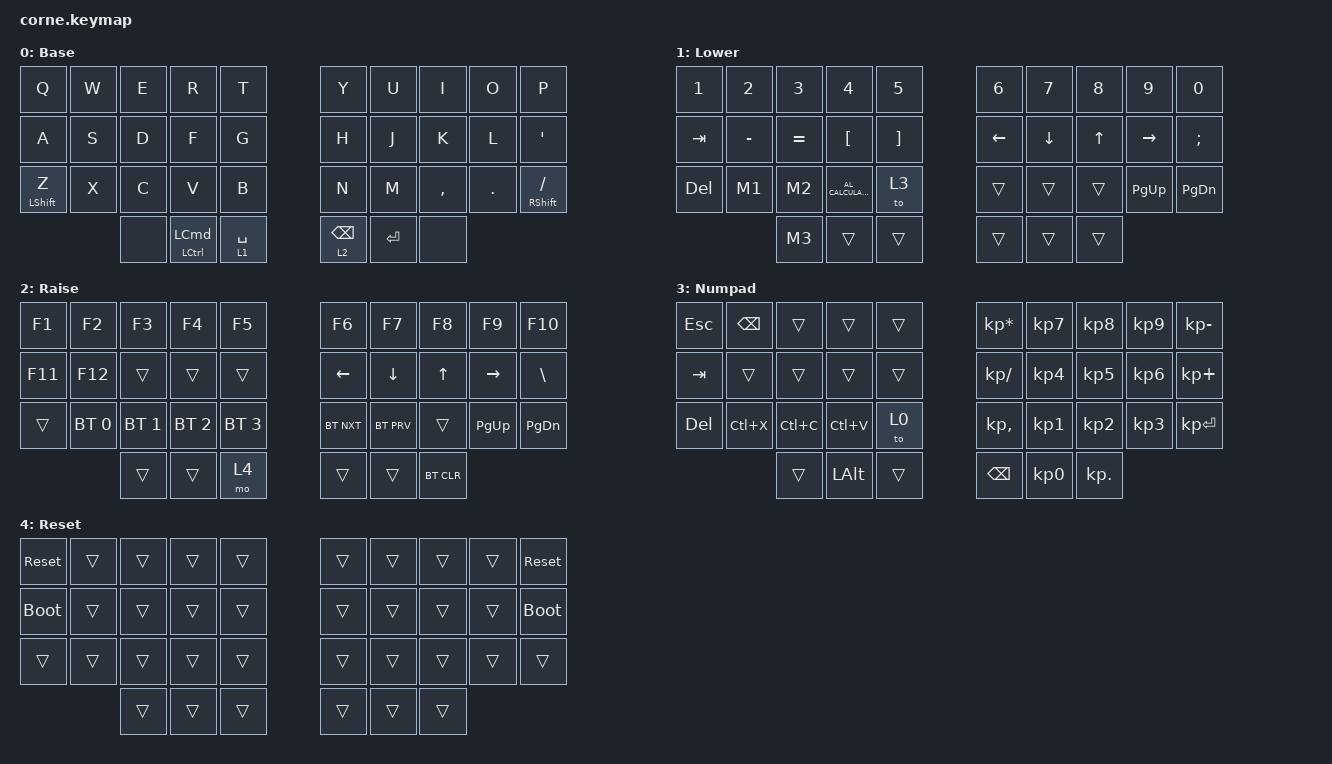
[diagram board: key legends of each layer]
/*
 * Copyright (c) 2020 The ZMK Contributors
 *
 * SPDX-License-Identifier: MIT
 */

#include <behaviors.dtsi>
#include <dt-bindings/zmk/bt.h>
#include <dt-bindings/zmk/keys.h>

/ {
    chosen { zmk,matrix_transform = &five_column_transform; };
};

/ {
    combos {
        compatible = "zmk,combos";

        Esc {
            bindings = <&kp ESC>;
            key-positions = <1 0>;
        };
    };

    macros {
        M1: M1 {
            compatible = "zmk,behavior-macro";
            #binding-cells = <0>;
            bindings = <&kp LS(LG(S))>;
            label = "M1";
        };

        M3: M3 {
            compatible = "zmk,behavior-macro";
            #binding-cells = <0>;
            bindings = <&kp LC(LA(DEL))>;
            label = "M3";
        };

        M2: M2 {
            compatible = "zmk,behavior-macro";
            #binding-cells = <0>;
            bindings = <&kp LC(LS(R))>;
            label = "M2";
        };
    };

    keymap {
        compatible = "zmk,keymap";

        default_layer {
            // -----------------------------------------------------------------------------------------
            // |  TAB |  Q  |  W  |  E  |  R  |  T  |   |  Y  |  U   |  I  |  O  |  P  | BKSP |
            // | CTRL |  A  |  S  |  D  |  F  |  G  |   |  H  |  J   |  K  |  L  |  ;  |  '   |
            // | SHFT |  Z  |  X  |  C  |  V  |  B  |   |  N  |  M   |  ,  |  .  |  /  | ESC  |
            //                    | GUI | LWR | SPC |   | ENT | RSE  | ALT |

            label = "Base";
            bindings = <
  &kp Q             &kp W  &kp E  &kp R           &kp T          &kp Y            &kp U      &kp I      &kp O       &kp P
  &kp A             &kp S  &kp D  &kp F           &kp G          &kp H            &kp J      &kp K      &kp L       &kp SQT
  &mt LEFT_SHIFT Z  &kp X  &kp C  &kp V           &kp B          &kp N            &kp M      &kp COMMA  &kp PERIOD  &mt RSHFT SLASH
                           &none  &mt LCTRL LCMD  &lt 1 SPACE    &lt 2 BACKSPACE  &kp ENTER  &none
            >;
        };

        lower_layer {
            // -----------------------------------------------------------------------------------------
            // |  TAB |  1  |  2  |  3  |  4  |  5  |   |  6  |  7  |  8  |  9  |  0  | BKSP |
            // | BTCLR| BT1 | BT2 | BT3 | BT4 | BT5 |   | LFT | DWN |  UP | RGT |     |      |
            // | SHFT |     |     |     |     |     |   |     |     |     |     |     |      |
            //                    | GUI |     | SPC |   | ENT |     | ALT |

            label = "Lower";
            bindings = <
  &kp NUMBER_1  &kp NUMBER_2  &kp NUMBER_3  &kp NUMBER_4         &kp N5               &kp NUMBER_6  &kp N7    &kp N8        &kp N9     &kp N0
  &kp TAB       &kp MINUS     &kp EQUAL     &kp LEFT_BRACKET     &kp RIGHT_BRACKET    &kp LEFT      &kp DOWN  &kp UP_ARROW  &kp RIGHT  &kp SEMICOLON
  &kp DEL       &M1           &M2           &kp C_AL_CALCULATOR  &to 3                &trans        &trans    &trans        &kp PG_UP  &kp PAGE_DOWN
                              &M3           &trans               &trans               &trans        &trans    &trans
            >;
        };

        raise_layer {
            // -----------------------------------------------------------------------------------------
            // |  TAB |  !  |  @  |  #  |  $  |  %  |   |  ^  |  &  |  *  |  (  |  )  | BKSP |
            // | CTRL |     |     |     |     |     |   |  -  |  =  |  [  |  ]  |  \  |  `   |
            // | SHFT |     |     |     |     |     |   |  _  |  +  |  {  |  }  | "|" |  ~   |
            //                    | GUI |     | SPC |   | ENT |     | ALT |

            label = "Raise";
            bindings = <
  &kp F1   &kp F2        &kp F3        &kp F4        &kp F5          &kp F6      &kp F7      &kp F8        &kp F9     &kp F10
  &kp F11  &kp F12       &trans        &trans        &trans          &kp LEFT    &kp DOWN    &kp UP_ARROW  &kp RIGHT  &kp BACKSLASH
  &trans   &bt BT_SEL 0  &bt BT_SEL 1  &bt BT_SEL 2  &bt BT_SEL 3    &bt BT_NXT  &bt BT_PRV  &trans        &kp PG_UP  &kp PAGE_DOWN
                         &trans        &trans        &mo 4           &trans      &trans      &bt BT_CLR
            >;
        };

        Numpad_Layer {
            label = "Numpad";
            bindings = <
  &kp ESC  &kp BACKSPACE  &trans     &trans     &trans    &kp KP_MULTIPLY  &kp KP_NUMBER_7  &kp KP_NUMBER_8  &kp KP_NUMBER_9  &kp KP_MINUS
  &kp TAB  &trans         &trans     &trans     &trans    &kp KP_DIVIDE    &kp KP_NUMBER_4  &kp KP_NUMBER_5  &kp KP_NUMBER_6  &kp KP_PLUS
  &kp DEL  &kp LC(X)      &kp LC(C)  &kp LC(V)  &to 0     &kp KP_COMMA     &kp KP_NUMBER_1  &kp KP_NUMBER_2  &kp KP_NUMBER_3  &kp KP_ENTER
                          &trans     &kp LALT   &trans    &kp BACKSPACE    &kp KP_NUMBER_0  &kp KP_DOT
            >;
        };

        Reset_Layer {
            label = "Reset";
            bindings = <
  &sys_reset   &trans  &trans  &trans  &trans    &trans  &trans  &trans  &trans  &sys_reset
  &bootloader  &trans  &trans  &trans  &trans    &trans  &trans  &trans  &trans  &bootloader
  &trans       &trans  &trans  &trans  &trans    &trans  &trans  &trans  &trans  &trans
                       &trans  &trans  &trans    &trans  &trans  &trans
            >;
        };
    };
};
